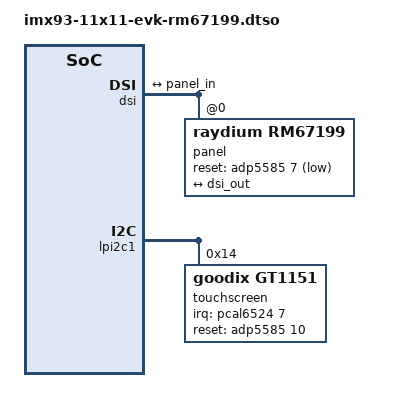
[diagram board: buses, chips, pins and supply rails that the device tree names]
// SPDX-License-Identifier: (GPL-2.0+ OR MIT)
/*
 * Copyright 2026 NXP
 */

/dts-v1/;
/plugin/;

#include <dt-bindings/gpio/gpio.h>
#include <dt-bindings/interrupt-controller/irq.h>

&adv7535 {
	status = "disabled";
};

&dsi {
	#address-cells = <1>;
	#size-cells = <0>;

	panel@0 {
		compatible = "raydium,rm67199";
		reg = <0>;
		reset-gpio = <&adp5585 7 GPIO_ACTIVE_LOW>;
		dsi-lanes = <4>;
		video-mode = <2>;	/* 0: burst mode
					 * 1: non-burst mode with sync event
					 * 2: non-burst mode with sync pulse
					 */
		width-mm = <68>;
		height-mm = <121>;

		port {
			panel_in: endpoint {
				remote-endpoint = <&dsi_out>;
			};
		};
	};

	ports {
		#address-cells = <1>;
		#size-cells = <0>;

		port@1 {
			reg = <1>;

			dsi_out: endpoint {
				remote-endpoint = <&panel_in>;
			};
		};
	};
};

&lcdif {
	assigned-clock-rates = <484000000>, <121000000>, <400000000>, <133333333>;
};

&lpi2c1 {
	#address-cells = <1>;
	#size-cells = <0>;

	touchscreen@14 {
		compatible = "goodix,gt1151";
		reg = <0x14>;
		interrupt-parent = <&pcal6524>;
		interrupts = <7 IRQ_TYPE_EDGE_FALLING>;
		irq-gpios = <&pcal6524 7 GPIO_ACTIVE_HIGH>;
		reset-gpios = <&adp5585 10 GPIO_ACTIVE_HIGH>;
		edge-failling-trigger;
		touchscreen-size-x = <1080>;
		touchscreen-size-y = <1920>;
	};
};
